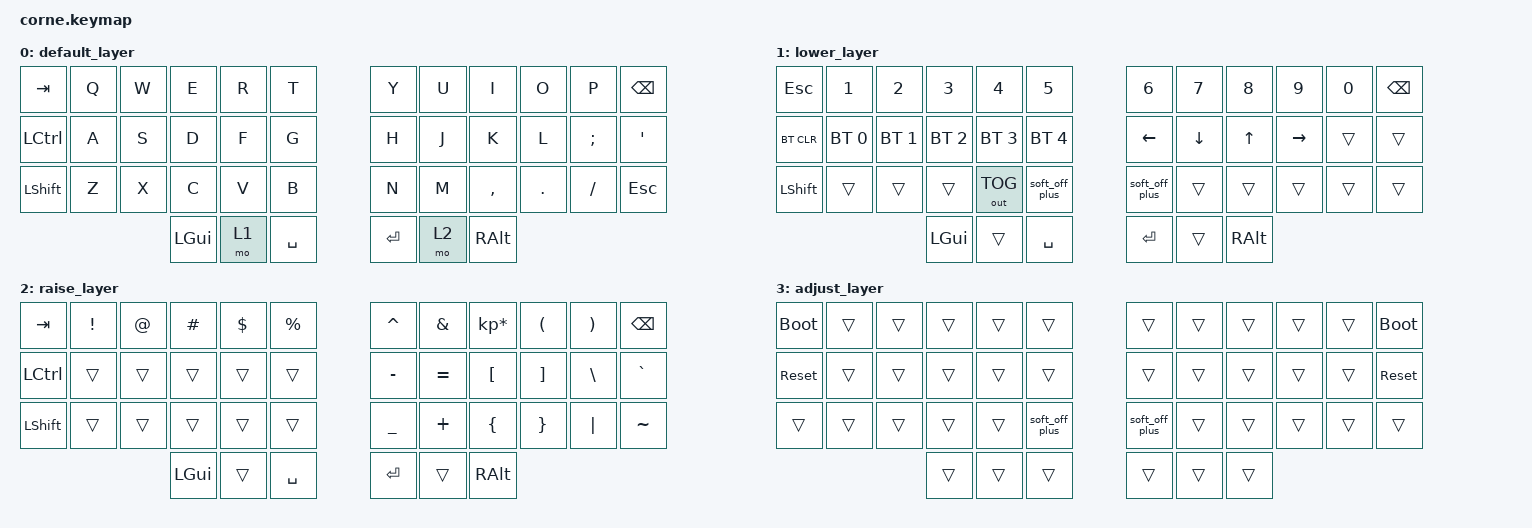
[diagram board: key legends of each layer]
/*
 * Copyright (c) 2020 The ZMK Contributors
 *
 * SPDX-License-Identifier: MIT
 */

#include <behaviors.dtsi>
#include <dt-bindings/zmk/bt.h>
#include <dt-bindings/zmk/keys.h>
#include <dt-bindings/zmk/outputs.h>

&kscan0 {
    debounce-press-ms = <1>;
    debounce-release-ms = <5>;
};

/ {
    behaviors {
        soft_off_plus: soft_off_plus {
            compatible = "zmk,behavior-soft-off-plus";
            #binding-cells = <0>;
            hold-time-ms = <1200>;
        };
    };

    soft_off_wakers {
        compatible = "zmk,soft-off-wakeup-sources";
        wakeup-sources = <&kscan0>;
    };

    soft_off_plus_wake: soft_off_plus_wake {
        compatible = "zmk,soft-off-plus-wake";
        /* F key on Left (Row 1, Col 4) and J key on Right (Row 1, Col 1) both map to: */
        wake-gpios   = <&pro_micro 5 (GPIO_ACTIVE_HIGH | GPIO_PULL_DOWN)>; /* Row 1 (Home row) */
        strobe-gpios = <&pro_micro 15 GPIO_ACTIVE_HIGH>;                   /* Index Col (F on Left, J on Right) */
        wake-hold-ms = <1000>;
        bypass-on-usb;
    };

    conditional_layers {
        compatible = "zmk,conditional-layers";
        tri_layer {
            if-layers = <1 2>;
            then-layer = <3>;
        };
    };

    keymap {
        compatible = "zmk,keymap";

        default_layer {
            // -----------------------------------------------------------------------------------------
            // |  TAB |  Q  |  W  |  E  |  R  |  T  |   |  Y  |  U   |  I  |  O  |  P  | BKSP |
            // | CTRL |  A  |  S  |  D  |  F  |  G  |   |  H  |  J   |  K  |  L  |  ;  |  '   |
            // | SHFT |  Z  |  X  |  C  |  V  |  B  |   |  N  |  M   |  ,  |  .  |  /  | ESC  |
            //                    | GUI | LWR | SPC |   | ENT | RSE  | ALT |

            bindings = <
&kp TAB    &kp Q  &kp W  &kp E     &kp R  &kp T        &kp Y    &kp U  &kp I      &kp O    &kp P     &kp BSPC
&kp LCTRL  &kp A  &kp S  &kp D     &kp F  &kp G        &kp H    &kp J  &kp K      &kp L    &kp SEMI  &kp SQT
&kp LSHFT  &kp Z  &kp X  &kp C     &kp V  &kp B        &kp N    &kp M  &kp COMMA  &kp DOT  &kp FSLH  &kp ESC
                         &kp LGUI  &mo 1  &kp SPACE    &kp RET  &mo 2  &kp RALT
            >;
        };

        lower_layer {
            // -----------------------------------------------------------------------------------------
            // |  TAB |  1  |  2  |  3  |  4  |  5  |   |  6  |  7  |  8  |  9  |  0  | BKSP |
            // | BTCLR| BT1 | BT2 | BT3 | BT4 | BT5 |   | LFT | DWN |  UP | RGT |     |      |
            // | SHFT |     |     |     |     |     |   |     |     |     |     |     |      |
            //                    | GUI |     | SPC |   | ENT |     | ALT |

            bindings = <
&kp ESCAPE  &kp N1        &kp N2        &kp N3        &kp N4        &kp N5          &kp N6     &kp N7    &kp N8    &kp N9     &kp N0  &kp BSPC
&bt BT_CLR  &bt BT_SEL 0  &bt BT_SEL 1  &bt BT_SEL 2  &bt BT_SEL 3  &bt BT_SEL 4    &kp LEFT   &kp DOWN  &kp UP    &kp RIGHT  &trans  &trans
&kp LSHFT   &trans        &trans        &trans        &out OUT_TOG  &soft_off_plus  &soft_off_plus  &trans    &trans    &trans     &trans  &trans
                                        &kp LGUI      &trans        &kp SPACE       &kp RET    &trans    &kp RALT
            >;
        };

        raise_layer {
            // -----------------------------------------------------------------------------------------
            // |  TAB |  !  |  @  |  #  |  $  |  %  |   |  ^  |  &  |  *  |  (  |  )  | BKSP |
            // | CTRL |     |     |     |     |     |   |  -  |  =  |  [  |  ]  |  \  |  `   |
            // | SHFT |     |     |     |     |     |   |  _  |  +  |  {  |  }  | "|" |  ~   |
            //                    | GUI |     | SPC |   | ENT |     | ALT |

            bindings = <
&kp TAB    &kp EXCL  &kp AT  &kp HASH  &kp DLLR  &kp PRCNT    &kp CARET  &kp AMPS   &kp KP_MULTIPLY  &kp LPAR  &kp RPAR  &kp BSPC
&kp LCTRL  &trans    &trans  &trans    &trans    &trans       &kp MINUS  &kp EQUAL  &kp LBKT         &kp RBKT  &kp BSLH  &kp GRAVE
&kp LSHFT  &trans    &trans  &trans    &trans    &trans       &kp UNDER  &kp PLUS   &kp LBRC         &kp RBRC  &kp PIPE  &kp TILDE
                             &kp LGUI  &trans    &kp SPACE    &kp RET    &trans     &kp RALT
            >;
        };

        adjust_layer {
            // -----------------------------------------------------------------------------------------
            // | BOOT |      |     |     |     |     |   |     |     |     |     |      | BOOT |
            // | RSET |      |     |     |     |     |   |     |     |     |     |      | RSET |
            // | EP_T |      |     |     |     | OFF |   | OFF |     |     |     |      | EP_T |
            //                    |     |     |     |   |     |     |     |

            bindings = <
&bootloader        &trans  &trans  &trans  &trans  &trans            &trans          &trans  &trans  &trans  &trans  &bootloader
&sys_reset         &trans  &trans  &trans  &trans  &trans            &trans          &trans  &trans  &trans  &trans  &sys_reset
&trans             &trans  &trans  &trans  &trans  &soft_off_plus    &soft_off_plus  &trans  &trans  &trans  &trans  &trans
                                   &trans  &trans  &trans            &trans          &trans  &trans
            >;
        };
    };
};
